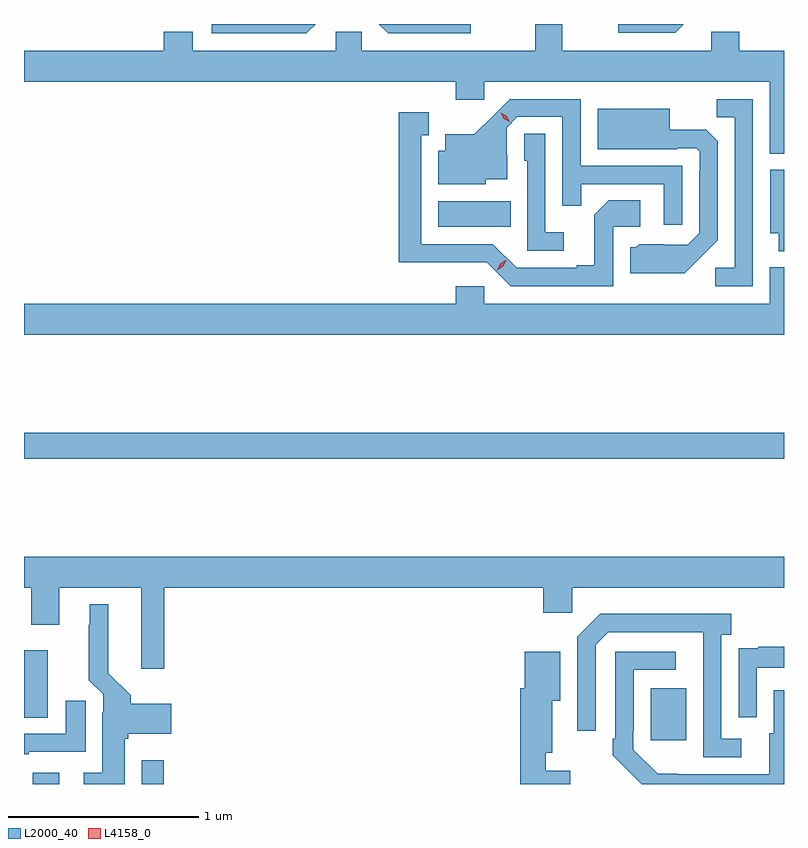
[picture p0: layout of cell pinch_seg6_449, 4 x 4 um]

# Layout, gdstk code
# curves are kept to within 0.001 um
import gdstk
lib = gdstk.Library(unit=1e-6, precision=1e-09)
def R(c, l, rs):  # rectangles x0, y0, x1, y1
    for r in rs: c.add(gdstk.rectangle(r[:2], r[2:], *l))
def P(c, l, *ps):  # polygons
    for p in ps: c.add(gdstk.Polygon(p, *l))
L2000_40 = (2000, 40)
L4158_0 = (4158, 0)

pinch_seg6_449 = lib.new_cell('pinch_seg6_449')
R(pinch_seg6_449, L2000_40, [(717.989,923.66,718.129,923.719), (718.563,923.66,718.679,923.785), (721.241,923.889,721.429,924.163), (717.943,924.01,718.069,924.364), (717.943,925.372,721.943,925.508), (720.122,926.594,720.506,926.728)])
P(pinch_seg6_449, L2000_40, [(721.943,927.52),(721.707,927.52),(721.707,927.619),(721.559,927.619),(721.559,927.52),(720.775,927.52),(720.775,927.66),(720.635,927.66),(720.635,927.52),(719.721,927.52),(719.721,927.618),(719.583,927.618),(719.583,927.52),(718.831,927.52),(718.831,927.619),(718.679,927.619),(718.679,927.52),(717.943,927.52),(717.943,927.356),(720.215,927.356),(720.215,927.261),(720.366,927.261),(720.366,927.356),(721.868,927.356),(721.868,926.978),(721.943,926.978)],
  [(720.294,927.66),(719.811,927.66),(719.859,927.612),(720.294,927.612)],
  [(719.478,927.66),(718.932,927.66),(718.932,927.611),(719.429,927.611)],
  [(721.416,927.66),(721.071,927.66),(721.071,927.615),(721.371,927.615)],
  [(721.407,926.913),(720.873,926.913),(720.873,927.264),(720.5,927.264),(720.313,927.079),(720.161,927.079),(720.161,926.992),(720.122,926.992),(720.122,926.816),(720.372,926.816),(720.372,926.843),(720.487,926.843),(720.487,926.972),(720.483,926.972),(720.483,927.114),(720.54,927.171),(720.777,927.171),(720.777,926.704),(720.875,926.704),(720.875,926.817),(721.311,926.817),(721.311,926.604),(721.407,926.604)],
  [(721.779,927.264),(721.588,927.264),(721.588,927.169),(721.683,927.169),(721.683,926.376),(721.581,926.376),(721.581,926.28),(721.779,926.28)],
  [(721.501,926.429),(721.593,926.522),(721.593,927.044),(721.534,927.103),(721.342,927.103),(721.342,927.214),(720.962,927.214),(720.962,927.002),(721.382,927.002),(721.382,927.006),(721.482,927.006),(721.5,926.988),(721.5,926.888),(721.497,926.888),(721.497,926.559),(721.437,926.499),(721.18,926.5),(721.164,926.484),(721.133,926.484),(721.133,926.348),(721.421,926.348)],
  [(721.044,926.592),(721.186,926.592),(721.186,926.732),(721.021,926.732),(720.945,926.656),(720.945,926.389),(720.851,926.389),(720.851,926.376),(720.537,926.376),(720.411,926.502),(720.034,926.502),(720.034,927.075),(720.073,927.075),(720.073,927.196),(719.916,927.196),(719.916,926.405),(720.378,926.406),(720.504,926.28),(721.044,926.28)],
  [(720.784,926.563),(720.687,926.563),(720.687,927.083),(720.576,927.083),(720.576,926.94),(720.591,926.94),(720.591,926.466),(720.784,926.466)],
  [(721.943,926.893),(721.871,926.893),(721.871,926.558),(721.916,926.558),(721.916,926.465),(721.943,926.465)],
  [(721.943,926.38),(721.868,926.38),(721.868,926.188),(720.366,926.188),(720.366,926.281),(720.215,926.281),(720.215,926.188),(717.943,926.188),(717.943,926.024),(721.943,926.024)],
  [(718.682,924.692),(720.677,924.692),(720.677,924.561),(720.828,924.561),(720.828,924.692),(721.943,924.692),(721.943,924.856),(717.943,924.856),(717.943,924.692),(717.982,924.692),(717.982,924.498),(718.129,924.498),(718.129,924.692),(718.559,924.692),(718.559,924.267),(718.682,924.267)],
  [(718.474,923.898),(718.492,923.898),(718.492,923.924),(718.717,923.924),(718.717,924.082),(718.505,924.082),(718.505,924.126),(718.387,924.244),(718.387,924.607),(718.289,924.607),(718.289,924.497),(718.285,924.497),(718.285,924.206),(718.359,924.132),(718.359,924.038),(718.355,924.038),(718.355,923.719),(718.257,923.719),(718.257,923.66),(718.474,923.66)],
  [(721.717,923.898),(721.614,923.898),(721.614,924.446),(721.666,924.446),(721.666,924.556),(720.976,924.556),(720.855,924.435),(720.855,923.94),(720.951,923.94),(720.951,924.393),(721.017,924.459),(721.517,924.459),(721.518,923.802),(721.717,923.802)],
  [(721.8,924.273),(721.943,924.273),(721.943,924.382),(721.807,924.382),(721.807,924.375),(721.705,924.375),(721.705,924.266),(721.704,924.266),(721.704,924.012),(721.8,924.012)],
  [(721.943,924.154),(721.889,924.154),(721.889,923.928),(721.865,923.928),(721.865,923.712),(721.278,923.713),(721.149,923.841),(721.149,923.941),(721.152,923.941),(721.152,924.261),(721.372,924.261),(721.372,924.357),(721.056,924.357),(721.056,923.899),(721.041,923.899),(721.041,923.811),(721.194,923.66),(721.943,923.66)],
  [(720.817,923.73),(720.688,923.73),(720.688,923.825),(720.724,923.825),(720.724,924.098),(720.766,924.098),(720.766,924.355),(720.578,924.355),(720.578,924.165),(720.554,924.165),(720.554,923.66),(720.817,923.66)],
  [(717.967,923.829),(718.267,923.829),(718.267,924.097),(718.163,924.097),(718.163,923.925),(717.943,923.925),(717.943,923.817),(717.967,923.817)])
P(pinch_seg6_449, L4158_0, [(720.499,927.146),(720.468,927.162),(720.451,927.192),(720.451,927.192),(720.451,927.192),(720.482,927.176),(720.499,927.146),(720.499,927.146)],
  [(720.434,926.365),(720.434,926.365),(720.45,926.398),(720.482,926.418),(720.482,926.418),(720.482,926.417),(720.465,926.384),(720.434,926.365)])

lib.write_gds('pinch_seg6_449.gds')
